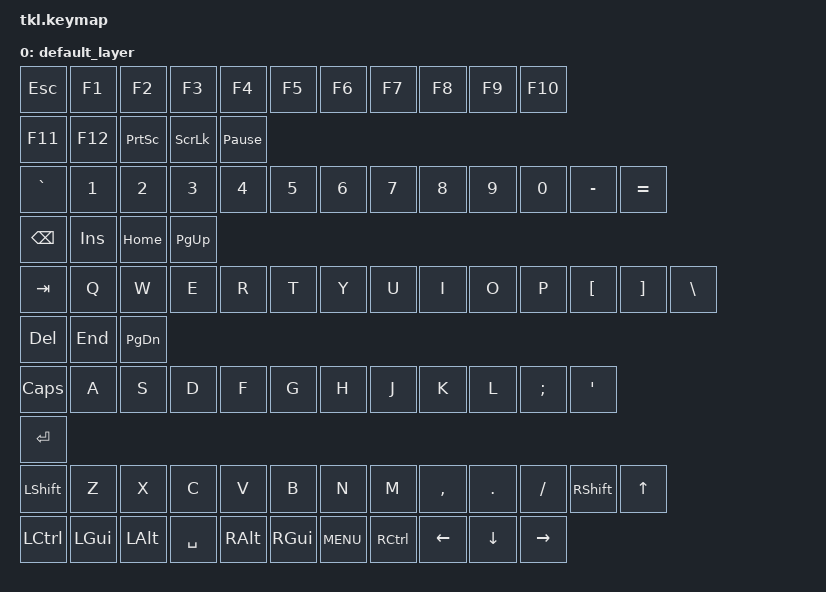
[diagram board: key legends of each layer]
#include <behaviors.dtsi>
#include <dt-bindings/zmk/keys.h>

/ {
    keymap {
        compatible = "zmk,keymap";

        default_layer {
            bindings = <
                // Ряд 1: Esc, F1-F10
                &kp ESC   &kp F1   &kp F2   &kp F3   &kp F4   &kp F5   &kp F6   &kp F7   &kp F8   &kp F9   &kp F10
                // F11, F12, PrSc, Scrl, Paus
                &kp F11   &kp F12  &kp PSCRN &kp SLCK &kp PAUSE_BREAK
                // ~, 1-0, -, =
                &kp GRAVE &kp N1   &kp N2   &kp N3   &kp N4   &kp N5   &kp N6   &kp N7   &kp N8   &kp N9   &kp N0   &kp MINUS &kp EQUAL
                // BS, Ins, Home, PgUp
                &kp BSPC  &kp INS  &kp HOME &kp PG_UP
                // Tab, Q-P, [, ], \
                &kp TAB   &kp Q    &kp W    &kp E    &kp R    &kp T    &kp Y    &kp U    &kp I    &kp O    &kp P    &kp LBKT  &kp RBKT  &kp BSLH
                // Del, End, PgDn
                &kp DEL   &kp END  &kp PG_DN
                // Caps, A-L, ;, '
                &kp CLCK  &kp A    &kp S    &kp D    &kp F    &kp G    &kp H    &kp J    &kp K    &kp L    &kp SEMI  &kp SQT
                // Enter
                &kp RET
                // LShift, Z-/, RShift, Up
                &kp LSHFT &kp Z    &kp X    &kp C    &kp V    &kp B    &kp N    &kp M    &kp COMMA &kp DOT   &kp FSLH  &kp RSHFT &kp UP
                // LCtrl, LWin, LAlt, Space, RAlt, RWin, Menu, RCtrl, Left, Down, Right
                &kp LCTRL &kp LGUI &kp LALT &kp SPACE &kp RALT &kp RGUI &kp K_MENU &kp RCTRL &kp LEFT &kp DOWN &kp RIGHT
            >;
        };
    };
};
